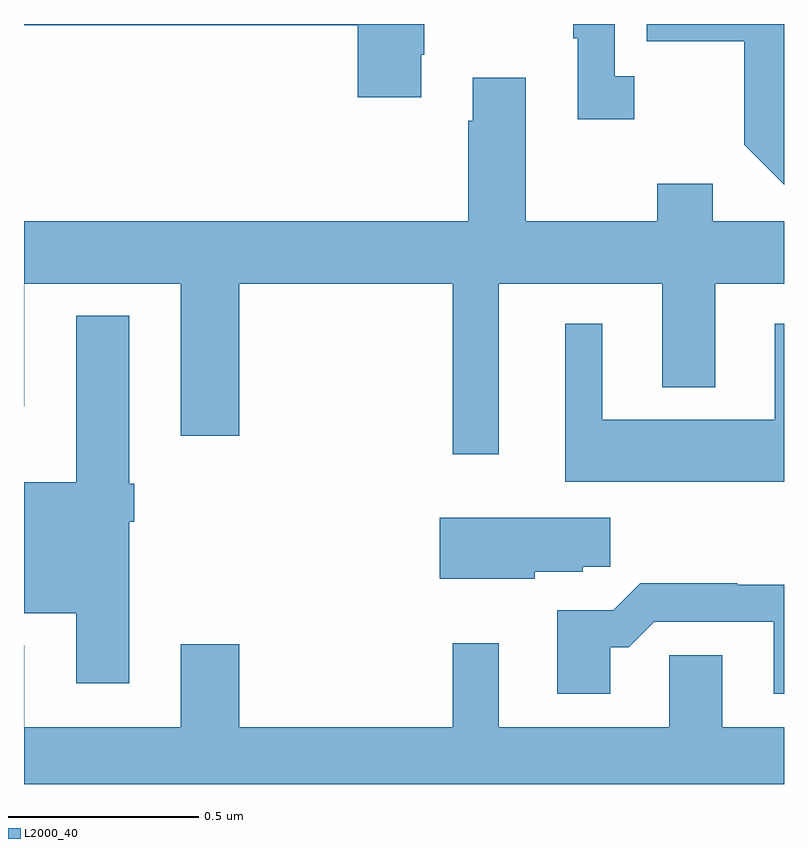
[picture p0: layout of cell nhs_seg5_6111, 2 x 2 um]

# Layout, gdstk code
import gdstk
lib = gdstk.Library(unit=1e-6, precision=1e-09)
def P(c, l, *ps):  # polygons
    for p in ps: c.add(gdstk.Polygon(p, *l))
L2000_40 = (2000, 40)

nhs_seg5_6111 = lib.new_cell('nhs_seg5_6111')
P(nhs_seg5_6111, L2000_40, [(193.045,834.718),(193.053,834.718),(193.053,834.799),(192,834.799),(192,834.796),(192.878,834.796),(192.878,834.606),(193.045,834.606)],
  [(194,834.799),(193.639,834.799),(193.639,834.754),(193.896,834.754),(193.896,834.481),(194,834.376)],
  [(193.606,834.662),(193.554,834.662),(193.554,834.799),(193.446,834.799),(193.446,834.761),(193.457,834.761),(193.457,834.549),(193.606,834.549)],
  [(193.249,834.116),(193.679,834.116),(193.679,833.843),(193.819,833.843),(193.819,834.116),(194,834.116),(194,834.28),(193.813,834.28),(193.813,834.379),(193.666,834.379),(193.666,834.28),(193.321,834.28),(193.321,834.658),(193.181,834.658),(193.181,834.545),(193.169,834.545),(193.169,834.28),(192,834.28),(192,833.793),(192.001,833.793),(192.001,834.116),(192.413,834.116),(192.413,833.715),(192.566,833.715),(192.566,834.116),(193.128,834.116),(193.128,833.667),(193.249,833.667)],
  [(192.277,833.489),(192.29,833.489),(192.29,833.589),(192.277,833.589),(192.277,834.031),(192.137,834.031),(192.137,833.593),(192,833.593),(192,833.249),(192.137,833.249),(192.137,833.064),(192.277,833.064)],
  [(194,834.01),(193.976,834.01),(193.976,833.758),(193.522,833.758),(193.522,834.01),(193.424,834.01),(193.424,833.594),(194,833.594)],
  [(193.344,833.357),(193.47,833.357),(193.47,833.371),(193.543,833.371),(193.543,833.5),(193.094,833.5),(193.094,833.339),(193.344,833.339)],
  [(193.543,833.159),(193.592,833.159),(193.659,833.226),(193.973,833.226),(193.973,833.037),(194,833.037),(194,833.324),(193.877,833.324),(193.877,833.327),(193.622,833.327),(193.551,833.256),(193.403,833.256),(193.403,833.037),(193.543,833.037)],
  [(194,832.948),(193.837,832.948),(193.837,833.138),(193.698,833.138),(193.698,832.948),(193.249,832.948),(193.249,833.17),(193.128,833.17),(193.128,832.948),(192.566,832.948),(192.566,833.167),(192.413,833.167),(192.413,832.948),(192.001,832.948),(192.001,833.164),(192,833.164),(192,832.799),(194,832.799)])

lib.write_gds('nhs_seg5_6111.gds')
